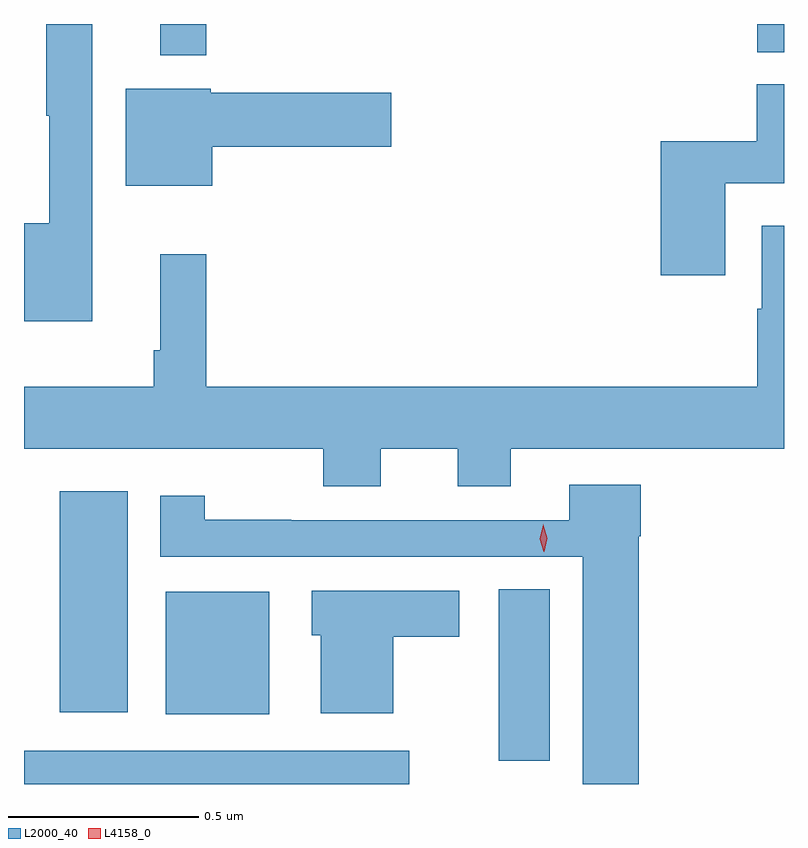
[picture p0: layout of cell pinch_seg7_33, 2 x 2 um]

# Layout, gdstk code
import gdstk
lib = gdstk.Library(unit=1e-6, precision=1e-09)
def R(c, l, rs):  # rectangles x0, y0, x1, y1
    for r in rs: c.add(gdstk.rectangle(r[:2], r[2:], *l))
def P(c, l, *ps):  # polygons
    for p in ps: c.add(gdstk.Polygon(p, *l))
L2000_40 = (2000, 40)
L4158_0 = (4158, 0)

pinch_seg7_33 = lib.new_cell('pinch_seg7_33')
R(pinch_seg7_33, L2000_40, [(1059.427,1051.682,1060.441,1051.77), (1060.676,1051.743,1060.81,1052.195), (1059.8,1051.865,1060.072,1052.188), (1059.521,1051.871,1059.7,1052.452), (1059.785,1053.6,1059.907,1053.682), (1061.357,1053.608,1061.427,1053.682)])
P(pinch_seg7_33, L2000_40, [(1059.607,1053.682),(1059.486,1053.682),(1059.486,1053.44),(1059.493,1053.44),(1059.493,1053.158),(1059.427,1053.158),(1059.427,1052.9),(1059.607,1052.9)],
  [(1061.272,1053.263),(1061.427,1053.263),(1061.427,1053.523),(1061.355,1053.523),(1061.355,1053.373),(1061.102,1053.373),(1061.102,1053.021),(1061.272,1053.021)],
  [(1059.922,1053.359),(1060.393,1053.359),(1060.393,1053.501),(1059.918,1053.501),(1059.918,1053.511),(1059.695,1053.511),(1059.695,1053.257),(1059.922,1053.257)],
  [(1060.366,1052.564),(1060.568,1052.564),(1060.568,1052.465),(1060.708,1052.465),(1060.708,1052.564),(1061.427,1052.564),(1061.427,1053.151),(1061.369,1053.151),(1061.369,1052.933),(1061.357,1052.933),(1061.357,1052.728),(1059.907,1052.728),(1059.907,1053.076),(1059.785,1053.076),(1059.785,1052.824),(1059.768,1052.824),(1059.768,1052.728),(1059.427,1052.728),(1059.427,1052.564),(1060.214,1052.564),(1060.214,1052.465),(1060.366,1052.465)],
  [(1061.045,1052.334),(1061.05,1052.334),(1061.05,1052.47),(1060.862,1052.47),(1060.862,1052.376),(1060.13,1052.376),(1060.13,1052.378),(1059.903,1052.378),(1059.903,1052.44),(1059.785,1052.44),(1059.785,1052.28),(1060.898,1052.28),(1060.898,1051.682),(1061.045,1051.682)],
  [(1060.399,1052.069),(1060.573,1052.069),(1060.573,1052.191),(1060.184,1052.191),(1060.184,1052.073),(1060.208,1052.073),(1060.208,1051.868),(1060.399,1051.868)])
P(pinch_seg7_33, L4158_0, [(1060.795,1052.293),(1060.784,1052.328),(1060.793,1052.364),(1060.793,1052.365),(1060.793,1052.364),(1060.804,1052.329),(1060.796,1052.293),(1060.796,1052.293)])

lib.write_gds('pinch_seg7_33.gds')
